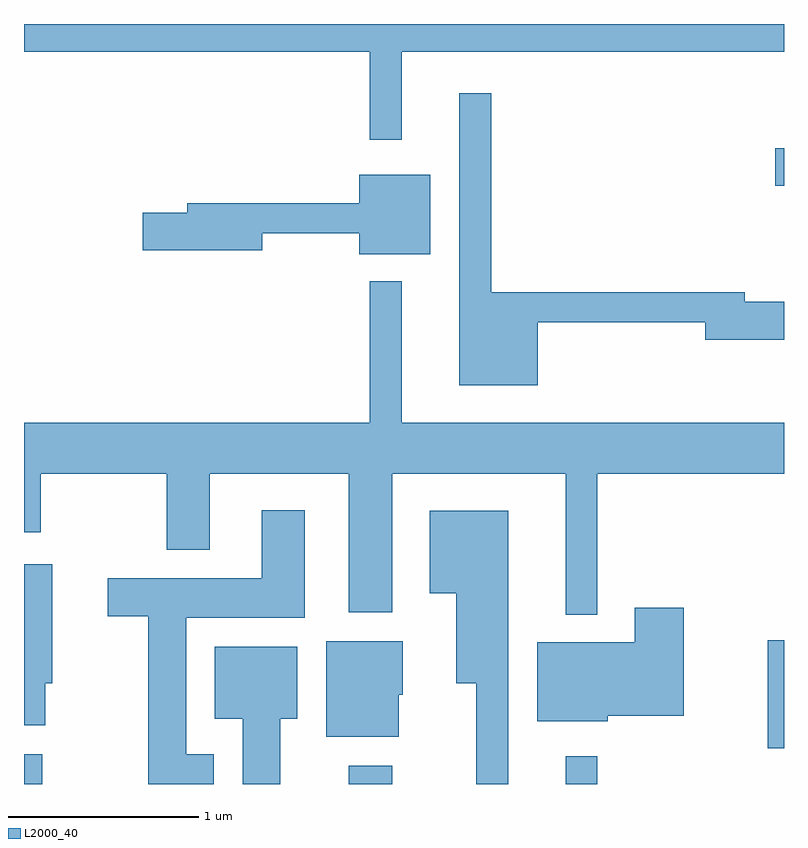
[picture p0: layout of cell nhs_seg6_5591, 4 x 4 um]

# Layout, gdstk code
import gdstk
lib = gdstk.Library(unit=1e-6, precision=1e-09)
def R(c, l, rs):  # rectangles x0, y0, x1, y1
    for r in rs: c.add(gdstk.rectangle(r[:2], r[2:], *l))
def P(c, l, *ps):  # polygons
    for p in ps: c.add(gdstk.Polygon(p, *l))
L2000_40 = (2000, 40)

nhs_seg6_5591 = lib.new_cell('nhs_seg6_5591')
R(nhs_seg6_5591, L2000_40, [(355.611,1566.162,355.708,1566.319), (357.321,1566.162,357.549,1566.259), (358.461,1566.162,358.629,1566.308), (359.526,1566.351,359.611,1566.919), (359.566,1569.311,359.611,1569.509)])
P(nhs_seg6_5591, L2000_40, [(359.611,1570.162),(355.611,1570.162),(355.611,1570.016),(357.431,1570.016),(357.431,1569.553),(357.599,1569.553),(357.599,1570.016),(359.611,1570.016)],
  [(358.314,1568.591),(359.196,1568.591),(359.196,1568.501),(359.611,1568.501),(359.611,1568.699),(359.404,1568.699),(359.404,1568.749),(358.069,1568.749),(358.069,1569.798),(357.901,1569.798),(357.901,1568.261),(358.314,1568.261)],
  [(357.749,1569.369),(357.376,1569.369),(357.376,1569.219),(356.471,1569.219),(356.471,1569.169),(356.236,1569.169),(356.236,1568.971),(356.864,1568.971),(356.864,1569.061),(357.376,1569.061),(357.376,1568.951),(357.749,1568.951)],
  [(358.629,1567.796),(359.611,1567.796),(359.611,1568.064),(357.599,1568.064),(357.599,1568.808),(357.431,1568.808),(357.431,1568.064),(355.611,1568.064),(355.611,1567.486),(355.699,1567.486),(355.699,1567.796),(356.361,1567.796),(356.361,1567.396),(356.589,1567.396),(356.589,1567.796),(357.321,1567.796),(357.321,1567.066),(357.549,1567.066),(357.549,1567.796),(358.461,1567.796),(358.461,1567.053),(358.629,1567.053)],
  [(356.609,1566.319),(356.464,1566.319),(356.464,1567.036),(357.089,1567.036),(357.089,1567.604),(356.861,1567.604),(356.861,1567.244),(356.051,1567.244),(356.051,1567.046),(356.266,1567.046),(356.266,1566.162),(356.609,1566.162)],
  [(358.159,1567.599),(357.746,1567.599),(357.746,1567.166),(357.886,1567.166),(357.886,1566.691),(357.991,1566.691),(357.991,1566.162),(358.159,1566.162)],
  [(355.724,1566.691),(355.759,1566.691),(355.759,1567.319),(355.611,1567.319),(355.611,1566.471),(355.724,1566.471)],
  [(358.684,1566.521),(359.084,1566.521),(359.084,1567.089),(358.826,1567.089),(358.826,1566.909),(358.311,1566.909),(358.311,1566.491),(358.684,1566.491)],
  [(357.584,1566.631),(357.604,1566.631),(357.604,1566.914),(357.201,1566.914),(357.201,1566.411),(357.584,1566.411)],
  [(356.959,1566.506),(357.049,1566.506),(357.049,1566.884),(356.616,1566.884),(356.616,1566.506),(356.761,1566.506),(356.761,1566.162),(356.959,1566.162)])

lib.write_gds('nhs_seg6_5591.gds')
